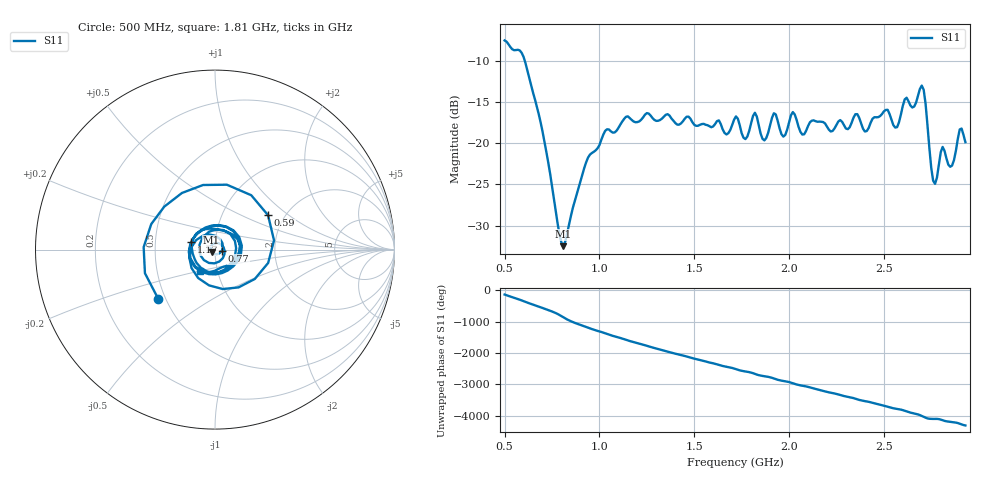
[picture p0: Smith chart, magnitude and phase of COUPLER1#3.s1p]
#  HZ  S  DB  R  50.0
! Rohde & Schwarz ZVL
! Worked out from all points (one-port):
!   244 points, 500 MHz to 2.93 GHz, reference 50 ohm
!   lowest |S11| = -32.5 dB at 810 MHz (marker M1), VSWR 1.05, Z = 48.1 - j1.38 ohm
!   |S11| at or under -10 dB: 605.9 MHz to end of sweep
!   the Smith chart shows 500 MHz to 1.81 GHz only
!   S11 on the Smith chart (normalised r, x): 500 MHz: 0.46, -0.30; 590 MHz: 1.64, +0.72; 770 MHz: 1.08, -0.01; 1.17 GHz: 0.76, +0.06; 1.81 GHz: 0.82, -0.20
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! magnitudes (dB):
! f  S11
! 500 MHz  -7.6
! 590 MHz  -9.1
! 690 MHz  -17.5
! 770 MHz  -28.3
! 810 MHz  -32.5
! 940 MHz  -21.8
! 1.11 GHz  -17.8
! 1.17 GHz  -17.2
! 1.42 GHz  -17.8
! 1.67 GHz  -18.9
! 1.72 GHz  -16.8
! 1.77 GHz  -19.5
! 1.81 GHz  -16.7
! 1.87 GHz  -19.7
! 1.92 GHz  -16.4
! 1.97 GHz  -19.2
! 2.02 GHz  -16.2
! 2.07 GHz  -19.0
! 2.33 GHz  -17.5
! 2.52 GHz  -16.0
! 2.57 GHz  -18.1
! 2.63 GHz  -14.9
! 2.71 GHz  -13.5
! 2.77 GHz  -24.9
! 2.81 GHz  -20.5
! 2.85 GHz  -22.9
! 2.9 GHz  -18.3
! 2.93 GHz  -19.9
